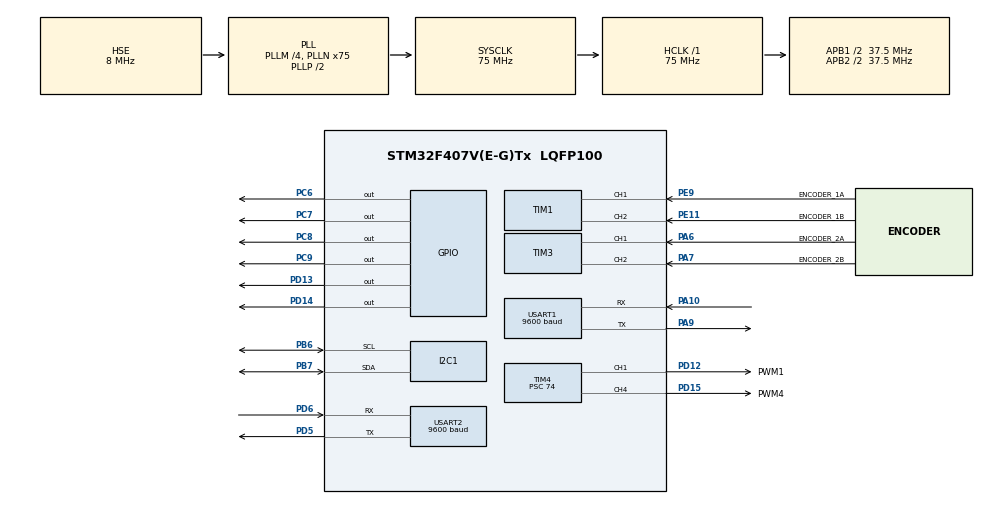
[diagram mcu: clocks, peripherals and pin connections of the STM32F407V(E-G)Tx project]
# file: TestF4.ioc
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Dma.Request0=USART1_TX
Dma.USART1_TX.0.Direction=DMA_MEMORY_TO_PERIPH
Dma.USART1_TX.0.FIFOMode=DMA_FIFOMODE_DISABLE
Dma.USART1_TX.0.Instance=DMA2_Stream7
Dma.USART1_TX.0.MemDataAlignment=DMA_MDATAALIGN_BYTE
Dma.USART1_TX.0.MemInc=DMA_MINC_ENABLE
Dma.USART1_TX.0.Mode=DMA_CIRCULAR
Dma.USART1_TX.0.PeriphDataAlignment=DMA_PDATAALIGN_BYTE
Dma.USART1_TX.0.PeriphInc=DMA_PINC_DISABLE
Dma.USART1_TX.0.Priority=DMA_PRIORITY_LOW
I2C1.I2C_Mode=I2C_Fast
Mcu.Family=STM32F4
Mcu.Name=STM32F407V(E-G)Tx
Mcu.Package=LQFP100
NVIC.DMA2_Stream7_IRQn=true\:0\:0\:false\:false\:true\:false\:true\:true
NVIC.PriorityGroup=NVIC_PRIORITYGROUP_4
NVIC.TIM5_IRQn=true\:1\:0\:true\:false\:true\:true\:true\:true
NVIC.USART1_IRQn=true\:0\:0\:false\:false\:true\:true\:true\:true
NVIC.USART2_IRQn=true\:0\:0\:false\:false\:true\:true\:true\:true
PA10.Mode=Asynchronous
PA10.Signal=USART1_RX
PA13.Mode=Serial_Wire
PA13.Signal=SYS_JTMS-SWDIO
PA14.Mode=Serial_Wire
PA14.Signal=SYS_JTCK-SWCLK
PA6.GPIO_Label=ENCODER_2A
PA6.Signal=S_TIM3_CH1
PA7.GPIO_Label=ENCODER_2B
PA7.Signal=S_TIM3_CH2
PA9.Mode=Asynchronous
PA9.Signal=USART1_TX
PB6.Mode=I2C
PB6.Signal=I2C1_SCL
PB7.Mode=I2C
PB7.Signal=I2C1_SDA
PC6.Signal=GPIO_Output
PC7.Signal=GPIO_Output
PC8.Signal=GPIO_Output
PC9.Signal=GPIO_Output
PD12.GPIO_Label=PWM1
PD12.Signal=S_TIM4_CH1
PD13.Signal=GPIO_Output
PD14.Signal=GPIO_Output
PD15.GPIO_Label=PWM4
PD15.Signal=S_TIM4_CH4
PD5.Mode=Asynchronous
PD5.Signal=USART2_TX
PD6.Mode=Asynchronous
PD6.Signal=USART2_RX
PE11.GPIO_Label=ENCODER_1B
PE11.Signal=S_TIM1_CH2
PE9.GPIO_Label=ENCODER_1A
PE9.Signal=S_TIM1_CH1
PH0-OSC_IN.Mode=HSE-External-Oscillator
PH0-OSC_IN.Signal=RCC_OSC_IN
PH1-OSC_OUT.Mode=HSE-External-Oscillator
PH1-OSC_OUT.Signal=RCC_OSC_OUT
ProjectManager.HeapSize=0x200
ProjectManager.StackSize=0x400
ProjectManager.TargetToolchain=STM32CubeIDE
RCC.48MHZClocksFreq_Value=37500000
RCC.AHBFreq_Value=75000000
RCC.APB1CLKDivider=RCC_HCLK_DIV2
RCC.APB1Freq_Value=37500000
RCC.APB1TimFreq_Value=75000000
RCC.APB2CLKDivider=RCC_HCLK_DIV2
RCC.APB2Freq_Value=37500000
RCC.APB2TimFreq_Value=75000000
RCC.CortexFreq_Value=75000000
RCC.HCLKFreq_Value=75000000
RCC.HSE_VALUE=8000000
RCC.HSI_VALUE=16000000
RCC.LSE_VALUE=32768
RCC.PLLM=4
RCC.PLLN=75
RCC.PLLSourceVirtual=RCC_PLLSOURCE_HSE
RCC.SYSCLKFreq_VALUE=75000000
RCC.SYSCLKSource=RCC_SYSCLKSOURCE_PLLCLK
RCC.VCOOutputFreq_Value=150000000
SH.S_TIM1_CH1.0=TIM1_CH1,Encoder_Interface
SH.S_TIM1_CH2.0=TIM1_CH2,Encoder_Interface
SH.S_TIM3_CH1.0=TIM3_CH1,Encoder_Interface
SH.S_TIM3_CH2.0=TIM3_CH2,Encoder_Interface
SH.S_TIM4_CH1.0=TIM4_CH1,PWM Generation1 CH1
SH.S_TIM4_CH4.0=TIM4_CH4,PWM Generation4 CH4
TIM1.EncoderMode=TIM_ENCODERMODE_TI12
TIM1.IC1Filter=10
TIM1.IC2Filter=10
TIM3.EncoderMode=TIM_ENCODERMODE_TI12
TIM3.IC1Filter=10
TIM3.IC2Filter=10
TIM4.Channel-PWM\ Generation1\ CH1=TIM_CHANNEL_1
TIM4.Channel-PWM\ Generation4\ CH4=TIM_CHANNEL_4
TIM4.Period=99
TIM4.Prescaler=74
TIM5.Period=499
TIM5.Prescaler=749
USART1.BaudRate=9600
USART1.VirtualMode=VM_ASYNC
USART2.BaudRate=9600
USART2.VirtualMode=VM_ASYNC
VP_TIM5_VS_ClockSourceINT.Mode=Internal
board=custom

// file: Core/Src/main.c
/* USER CODE BEGIN Header */
/**
  ******************************************************************************
  * @file           : main.c
  * @brief          : Main program body
  ******************************************************************************
  * @attention
  *
  * Copyright (c) 2023 STMicroelectronics.
  * All rights reserved.
  *
  * This software is licensed under terms that can be found in the LICENSE file
  * in the root directory of this software component.
  * If no LICENSE file comes with this software, it is provided AS-IS.
  *
  ******************************************************************************
  */
/* USER CODE END Header */
#include "main.h"
#include "dma.h"
#include "i2c.h"
#include "tim.h"
#include "usart.h"
#include "gpio.h"

/* USER CODE BEGIN Includes */
#include <stdio.h>
#include <stdint.h>
#include <string.h>
#include <stdlib.h>

#include "pid.h"
#include "utils.h"
#include "motor.h"
#include "../MPU6050/mpu6050.h"
#include "complex.h"
/* USER CODE END Includes */

/* USER CODE BEGIN PV */
#define SAMPLE_STRING "0360,0045,0045,1,0"
#define ARRAY_CHECKER "1111,1111,1111,1,1"
#define MAX_LEN_DATA 18
void SerialInit(void);
void SerialAcceptReceive(void);

void MotorMovePos(PROFILE_t *tProfile, PID_CONTROL_t *tPIDControl1, PID_CONTROL_t *tPIDControl2, PID_CONTROL_t *tPIDControl3, Motor_t *tmotor1, Motor_t *tmotor2, uint8_t dir1, uint8_t dir2);

#define GO_AHEAD 1
#define GO_BACK 0
/* USER CODE END PV */

void SystemClock_Config(void);

/* USER CODE BEGIN 0 */
char dataBuffer[MAX_LEN_DATA];

MPU6050_t MPU6050;

uint32_t g_nCmdPulse;
float g_dCmdVel;

uint32_t nPulse1;
uint32_t nPulse2;

uint8_t tProcess;
ArrData_t arrData1;

uint8_t dir1, dir2;
char statusOK[] = "OK\r\n";
char result[100];

int32_t dutyCycle_global_1 = 0,  dutyCycle_global_2 = 0;

/* USER CODE END 0 */

int main(void)
{

  /* MCU Configuration--------------------------------------------------------*/

  /* Reset of all peripherals, Initializes the Flash interface and the Systick. */
  HAL_Init();

  /* Configure the system clock */
  SystemClock_Config();

  /* Initialize all configured peripherals */
  MX_GPIO_Init();
  MX_DMA_Init();
  MX_I2C1_Init();
  MX_TIM1_Init();
  MX_TIM3_Init();
  MX_TIM4_Init();
  MX_USART2_UART_Init();
  MX_TIM5_Init();
  MX_USART1_UART_Init();
  /* USER CODE BEGIN 2 */

  while (MPU6050_Init(&hi2c1) == 1);
  SerialInit();
  MotorInit();
  MotorSetRun();
  PIDInit(&tPID_3, 5, 0, 0.001);
  tProcess = NONE;

  tMotor1.ptd = 0.091; //2700
  tMotor2.ptd = 0.096; //2580

  /* USER CODE END 2 */

  /* Infinite loop */
  while (1)
  {

  }
}

void SystemClock_Config(void)
{
  RCC_OscInitTypeDef RCC_OscInitStruct = {0};
  RCC_ClkInitTypeDef RCC_ClkInitStruct = {0};

  /** Configure the main internal regulator output voltage
  */
  __HAL_RCC_PWR_CLK_ENABLE();
  __HAL_PWR_VOLTAGESCALING_CONFIG(PWR_REGULATOR_VOLTAGE_SCALE1);

  /** Initializes the RCC Oscillators according to the specified parameters
  * in the RCC_OscInitTypeDef structure.
  */
  RCC_OscInitStruct.OscillatorType = RCC_OSCILLATORTYPE_HSE;
  RCC_OscInitStruct.HSEState = RCC_HSE_ON;
  RCC_OscInitStruct.PLL.PLLState = RCC_PLL_ON;
  RCC_OscInitStruct.PLL.PLLSource = RCC_PLLSOURCE_HSE;
  RCC_OscInitStruct.PLL.PLLM = 4;
  RCC_OscInitStruct.PLL.PLLN = 75;
  RCC_OscInitStruct.PLL.PLLP = RCC_PLLP_DIV2;
  RCC_OscInitStruct.PLL.PLLQ = 4;
  if (HAL_RCC_OscConfig(&RCC_OscInitStruct) != HAL_OK)
  {
    Error_Handler();
  }

  /** Initializes the CPU, AHB and APB buses clocks
  */
  RCC_ClkInitStruct.ClockType = RCC_CLOCKTYPE_HCLK|RCC_CLOCKTYPE_SYSCLK
                              |RCC_CLOCKTYPE_PCLK1|RCC_CLOCKTYPE_PCLK2;
  RCC_ClkInitStruct.SYSCLKSource = RCC_SYSCLKSOURCE_PLLCLK;
  RCC_ClkInitStruct.AHBCLKDivider = RCC_SYSCLK_DIV1;
  RCC_ClkInitStruct.APB1CLKDivider = RCC_HCLK_DIV2;
  RCC_ClkInitStruct.APB2CLKDivider = RCC_HCLK_DIV2;

  if (HAL_RCC_ClockConfig(&RCC_ClkInitStruct, FLASH_LATENCY_2) != HAL_OK)
  {
    Error_Handler();
  }
}

/* USER CODE BEGIN 4 */
void SerialInit(void)
{
  HAL_UART_Receive_IT(&huart1, (uint8_t *)dataBuffer, MAX_LEN_DATA);
}

// receive data
void SerialAcceptReceive(void)
{
  HAL_UART_Receive_IT(&huart1, (uint8_t *)dataBuffer, MAX_LEN_DATA);
}

// interupt uart RX
void HAL_UART_RxCpltCallback(UART_HandleTypeDef *huart)
{
  if (huart->Instance == huart1.Instance)
  {

    	__HAL_TIM_SetCounter(&htim3, 0);
	    __HAL_TIM_SetCounter(&htim4, 0);
	    tProcess = NONE;
	    PIDReset(&tPID_1);
	    PIDReset(&tPID_2);
	    PIDReset(&tPID_3);
	    MPU6050.yaw = 0.0f;

	    if(!strcmp(dataBuffer, ARRAY_CHECKER)){
	    	HAL_UART_Transmit(&huart1, (uint8_t *)statusOK, sizeof(statusOK), 1000);
	    }
	    else {
	        HAL_UART_Transmit(&huart1, (uint8_t *)dataBuffer, MAX_LEN_DATA, 1000);
	    	    arrData1 = ArrProcess(dataBuffer);
	    	    MotorTrapzoidalInit(&tProfile, arrData1.pos1, arrData1.vel1, arrData1.acc1);
	    	    dir1 = arrData1.dir1;
	    	    dir2 = arrData1.dir2;

	    	    tProcess = RUN_TEST;

	    	        if (dir1 == HEAD)
	    	        {
	    	        	//Motor1Forward();
	    	        	tMotor1.dir = HEAD;
	    	        }
	    	        else
	    	        {
	    	        	//Motor1Backward();
	    	        	tMotor1.dir = BACK;
	    	        }
	    	        if (dir2 == HEAD)
	    	        {
	    	        	//Motor2Forward();
	    	        	tMotor2.dir = HEAD;
	    	        }
	    	        else
	    	        {
	    	        	//Motor2Backward();
	    	        	tMotor2.dir = BACK;
	    	        }
	    }
	    SerialAcceptReceive();
  }
}

void HAL_TIM_PeriodElapsedCallback(TIM_HandleTypeDef *htim)
{

  if (htim->Instance == htim5.Instance)
  {
    switch (tProcess)
    {
    case NONE:

    	break;
    case RUN_TEST:
    	MotorSetRun();
    	ReadEncoder(&tMotor1, &htim1);
    	ReadEncoder(&tMotor2, &htim3);
    	//MPU6050_Read_Yaw(&hi2c1, &MPU6050);
    	MotorMovePos(&tProfile, &tPID_1, &tPID_2, &tPID_3, &tMotor1, &tMotor2, dir1, dir2);
    }
  }
}

void MotorMovePos(PROFILE_t *tProfile, PID_CONTROL_t *tPIDControl1, PID_CONTROL_t *tPIDControl2, PID_CONTROL_t *tPIDControl3,Motor_t *tmotor1, Motor_t *tmotor2, uint8_t dir1, uint8_t dir2)
{
  int32_t g_nDutyCycle_1, g_nDutyCycle_2, g_nDutyCycle_yaw;

  float dPosTemp = 0;

  // Profile trapezoidal Speed
  if (tProfile->nTime <= tProfile->dMidStep1)
  {
    dPosTemp = (int32_t)(tProfile->dA1 * tProfile->nTime * tProfile->nTime);
    g_dCmdVel = 2 * tProfile->dA1 * tProfile->nTime;
  }
  else if (tProfile->nTime <= tProfile->dMidStep2)
  {
    dPosTemp = (int32_t)(tProfile->dA2 * tProfile->nTime + tProfile->dB2);
    g_dCmdVel = tProfile->dA2;
  }
  else if (tProfile->nTime <= tProfile->dMidStep3)
  {
    dPosTemp = (int32_t)(tProfile->dA3 * tProfile->nTime * tProfile->nTime + tProfile->dB3 * tProfile->nTime + tProfile->dC3);
    g_dCmdVel = 2 * tProfile->dA3 * tProfile->nTime + tProfile->dB3;
  }
  else
  {
    dPosTemp = tProfile->dPosMax;
  }

  // Control PID
  if(tMotor1.dir == tMotor2.dir)
  	{
//	  g_nDutyCycle_yaw = (int16_t)PIDCompute(tPIDControl3, 0.0, MPU6050.yaw, SAMPLING_TIME);
	  g_nDutyCycle_yaw = 0;
	  g_nDutyCycle_1 = (int16_t)PIDCompute(tPIDControl1, g_dCmdVel, tMotor1.velocity, SAMPLING_TIME);
	  g_nDutyCycle_2 = (int16_t)PIDCompute(tPIDControl2, g_dCmdVel, tMotor2.velocity, SAMPLING_TIME);
	  if (tProfile->dPosMax < 100)
	  {
		  g_nDutyCycle_yaw = 0;
	  }
	  if(tMotor1.dir == 1)
	  {
		  g_nDutyCycle_1 = g_nDutyCycle_1 - g_nDutyCycle_yaw;
		  g_nDutyCycle_2 = g_nDutyCycle_2 + g_nDutyCycle_yaw;
	  }
	  else
	  {
		  g_nDutyCycle_1 = g_nDutyCycle_1 + g_nDutyCycle_yaw;
		  g_nDutyCycle_2 = g_nDutyCycle_2 - g_nDutyCycle_yaw;
	  }
	}
  else
  {
  g_nDutyCycle_1 = (int16_t)PIDCompute(tPIDControl1, g_dCmdVel, tMotor1.velocity, SAMPLING_TIME);
  g_nDutyCycle_2 = (int16_t)(PIDCompute(tPIDControl2, g_dCmdVel, tMotor2.velocity, SAMPLING_TIME));
  }

  if(tMotor1.dir == 1)
  {
	  if (g_nDutyCycle_1 > 0)
	  {
		Motor1Forward();
		MotorSetDuty(abs(g_nDutyCycle_1), MOTOR_1);
	  }
	  else
	  {
		Motor1Backward();
		MotorSetDuty(abs(g_nDutyCycle_1), MOTOR_1);
	  }
  }
   else{
	   if (g_nDutyCycle_1 > 0)
	   {
		Motor1Backward();
		MotorSetDuty(abs(g_nDutyCycle_1), MOTOR_1);
	    }
	 else
		 {
		 Motor1Forward();
		 MotorSetDuty(abs(g_nDutyCycle_1), MOTOR_1);
		 }
	  }
  if(tMotor2.dir == 1)
   {
	  if (g_nDutyCycle_2 > 0)
	  {
		Motor2Forward();
		MotorSetDuty(abs(g_nDutyCycle_2), MOTOR_2);
	  }
	  else
	  {
		Motor2Backward();
		MotorSetDuty(abs(g_nDutyCycle_2), MOTOR_2);;
	  }
   }
  else{
	  if (g_nDutyCycle_2 > 0)
	  {
	  	Motor2Backward();
	  	MotorSetDuty(abs(g_nDutyCycle_2), MOTOR_2);
	  }
	  else
	  {
	  	Motor2Forward();
	  	MotorSetDuty(abs(g_nDutyCycle_2), MOTOR_2);
	  }
  }

//  double real[7] = {tmotor1->velocity, tmotor2->velocity,  g_dCmdVel, tmotor1->position, tmotor2->position, dPosTemp, MPU6050.fil_Gz};
//  strcpy(result, "=");
//  for (int i = 0; i < 7; i++) {
//        char buffer[25];
//        snprintf(buffer, sizeof(buffer), "%.2f", creal(real[i]));
//        strcat(result, buffer);
//
//        if (i < 6) {
//            strcat(result, ",");
//        }
//    }
//  strcat(result, "!");
//  HAL_UART_Transmit(&huart1, (uint8_t *)result, sizeof(result),1000);

  if (tProfile->nTime > tProfile->dMidStep3)
  {
    __HAL_TIM_SetCounter(&htim4, 0);
    __HAL_TIM_SetCounter(&htim3, 0);
    dPosTemp = 0;
    g_nDutyCycle_1 = 0;
    g_nDutyCycle_2 = 0;
    g_dCmdVel = 0;
    tProfile->nTime = 0;
    tProcess = NONE;
    MotorSetDuty(0, MOTOR_1);
    MotorSetDuty(0, MOTOR_2);
    tmotor1->velocity = 0;
    tmotor2->velocity = 0;
    tmotor1->position = 0;
    tmotor2->position = 0;
    tmotor1->counter = 0;
    tmotor2->counter = 0;
    PIDReset(&tPID_2);
    PIDReset(&tPID_1);
    PIDReset(&tPID_3);
    MPU6050.yaw = 0.0f;
    if(tProfile->dMidStep3 < 1.0f)
    {
    	for(int i = 0; i < 30000; i++)
    	{
    	}
    	for(int i = 0; i < 30000; i++)
    	    	{
    	    	}
    	for(int i = 0; i < 30000; i++)
    	    	{
    	    	}
    	for(int i = 0; i < 30000; i++)
    	    	{
    	    	}
    	for(int i = 0; i < 30000; i++)
    	    	    	{
    	    	    	}
    	for(int i = 0; i < 30000; i++)
    	    	    	{
    	    	    	}
    	for(int i = 0; i < 30000; i++)
    	    	    	{
    	    	    	}
    	for(int i = 0; i < 30000; i++)
    	    	    	{
    	    	    	}
    	for(int i = 0; i < 30000; i++)
    	    	    	{
    	    	    	}
    	for(int i = 0; i < 30000; i++)
    	    	    	{
    	    	    	}
    }
    HAL_UART_Transmit(&huart1, (uint8_t *)statusOK, sizeof(statusOK), 1000);
    MPU6050.yaw = 0.0f;
    tProcess = NONE;
  }
  tProfile->nTime += SAMPLING_TIME;
}
/* USER CODE END 4 */

void Error_Handler(void)
{
  __disable_irq();
  while (1)
  {
  }
}
